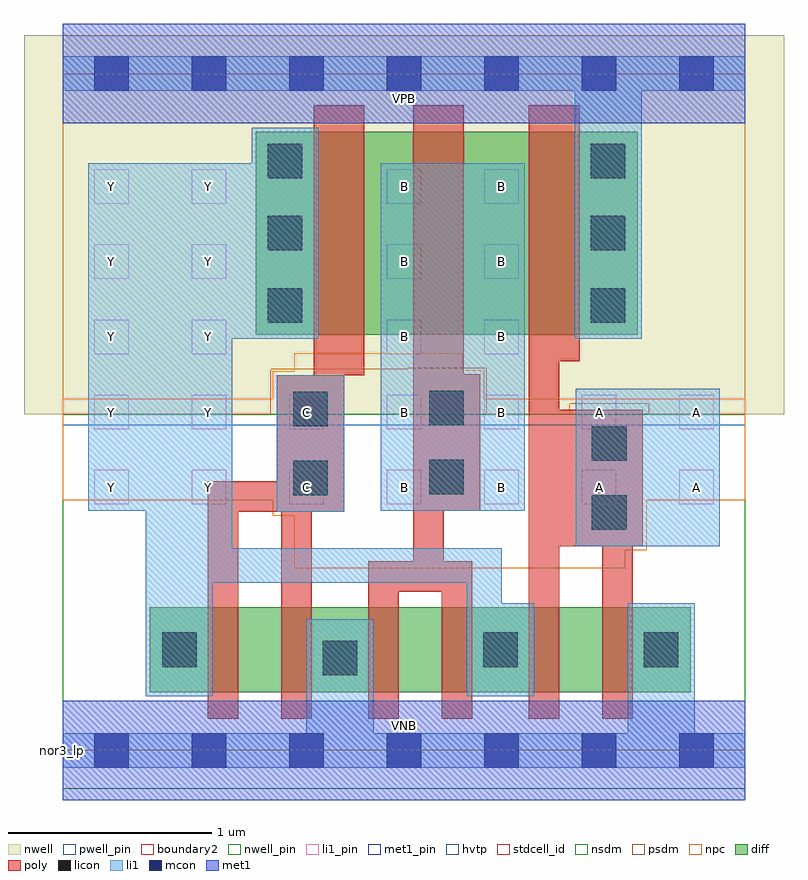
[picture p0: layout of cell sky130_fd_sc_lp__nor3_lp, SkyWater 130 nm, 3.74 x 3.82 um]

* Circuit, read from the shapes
.subckt sky130_fd_sc_lp__nor3_lp A B C VGND VNB VPB VPWR Y
XM1 n1 C Y VNB sky130_fd_pr__nfet_01v8 w=0.42 l=0.15
XM2 VGND C n1 VNB sky130_fd_pr__nfet_01v8 w=0.42 l=0.15
XM3 n2 B VGND VNB sky130_fd_pr__nfet_01v8 w=0.42 l=0.15
XM4 Y B n2 VNB sky130_fd_pr__nfet_01v8 w=0.42 l=0.15
XM5 n3 A Y VNB sky130_fd_pr__nfet_01v8 w=0.42 l=0.15
XM6 VGND A n3 VNB sky130_fd_pr__nfet_01v8 w=0.42 l=0.15
XM7 n4 C Y VPB sky130_fd_pr__pfet_01v8_hvt w=1 l=0.25
XM8 n5 B n4 VPB sky130_fd_pr__pfet_01v8_hvt w=1 l=0.25
XM9 VPWR A n5 VPB sky130_fd_pr__pfet_01v8_hvt w=1 l=0.25
.ends

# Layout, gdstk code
import gdstk
lib = gdstk.Library(unit=1e-6, precision=1e-09)
def R(c, l, rs):  # rectangles x0, y0, x1, y1
    for r in rs: c.add(gdstk.rectangle(r[:2], r[2:], *l))
def A(c, l, x, y, w, h, nx, ny, dx, dy):  # array of equal rectangles
    R(c, l, [(x+i*dx, y+j*dy, x+i*dx+w, y+j*dy+h) for i in range(nx) for j in range(ny)])
def P(c, l, *ps):  # polygons
    for p in ps: c.add(gdstk.Polygon(p, *l))
nwell_pin = (64, 16)
nwell = (64, 20)
diff = (65, 20)
poly = (66, 20)
licon = (66, 44)
li1_pin = (67, 16)
li1 = (67, 20)
mcon = (67, 44)
met1_pin = (68, 16)
met1 = (68, 20)
hvtp = (78, 44)
stdcell_id = (81, 4)
nsdm = (93, 44)
psdm = (94, 20)
npc = (95, 20)
pwell_pin = (122, 16)
boundary2 = (236, 0)

sky130_fd_sc_lp__nor3_lp = lib.new_cell('sky130_fd_sc_lp__nor3_lp')
R(sky130_fd_sc_lp__nor3_lp, nwell_pin, [(0,3.085,3.36,3.33)])
R(sky130_fd_sc_lp__nor3_lp, nwell, [(-0.19,1.655,3.55,3.52)])
R(sky130_fd_sc_lp__nor3_lp, diff, [(0.43,0.285,3.09,0.705), (0.95,2.045,2.83,3.045)])
P(sky130_fd_sc_lp__nor3_lp, poly, [(1.485,3.175),(1.235,3.175),(1.235,1.845),(1.055,1.845),(1.055,1.325),(0.715,1.325),(0.715,0.155),(0.865,0.155),(0.865,1.175),(1.075,1.175),(1.075,0.155),(1.225,0.155),(1.225,1.175),(1.385,1.175),(1.385,1.845),(1.485,1.845)],
  [(2.055,1.85),(1.975,1.85),(1.975,3.175),(1.725,3.175),(1.725,0.93),(1.505,0.93),(1.505,0.155),(1.655,0.155),(1.655,0.78),(1.865,0.78),(1.865,0.155),(2.015,0.155),(2.015,0.93),(1.875,0.93),(1.875,1.18),(2.055,1.18)],
  [(2.855,1.675),(2.445,1.675),(2.445,1.915),(2.545,1.915),(2.545,3.175),(2.295,3.175),(2.295,0.155),(2.445,0.155),(2.445,1.005),(2.655,1.005),(2.655,0.155),(2.805,0.155),(2.805,1.005),(2.855,1.005)])
A(sky130_fd_sc_lp__nor3_lp, licon, 1.01, 2.105, 0.17, 0.17, 1, 3, 0, 0.355)
A(sky130_fd_sc_lp__nor3_lp, licon, 2.6, 2.105, 0.17, 0.17, 1, 3, 0, 0.355)
R(sky130_fd_sc_lp__nor3_lp, licon, [(1.28,0.37,1.45,0.54), (0.49,0.41,0.66,0.58), (2.07,0.41,2.24,0.58), (2.86,0.41,3.03,0.58), (2.605,1.085,2.775,1.255), (1.135,1.255,1.305,1.425), (1.805,1.26,1.975,1.43), (2.605,1.425,2.775,1.595), (1.135,1.595,1.305,1.765), (1.805,1.6,1.975,1.77)])
A(sky130_fd_sc_lp__nor3_lp, li1_pin, 0.155, 1.21, 0.17, 0.17, 7, 2, 0.48, 0.37)
A(sky130_fd_sc_lp__nor3_lp, li1_pin, 0.155, 1.95, 0.17, 0.17, 1, 3, 0, 0.37)
A(sky130_fd_sc_lp__nor3_lp, li1_pin, 0.635, 1.95, 0.17, 0.17, 1, 3, 0, 0.37)
A(sky130_fd_sc_lp__nor3_lp, li1_pin, 1.595, 1.95, 0.17, 0.17, 1, 3, 0, 0.37)
A(sky130_fd_sc_lp__nor3_lp, li1_pin, 2.075, 1.95, 0.17, 0.17, 1, 3, 0, 0.37)
R(sky130_fd_sc_lp__nor3_lp, li1, [(2.525,1.005,3.235,1.78), (1.055,1.175,1.385,1.845), (1.565,1.18,2.275,2.89)])
P(sky130_fd_sc_lp__nor3_lp, li1, [(2.52,2.025),(2.52,3.245),(0,3.245),(0,3.415),(3.36,3.415),(3.36,3.245),(2.85,3.245),(2.85,2.025)],
  [(2.78,0.085),(2.78,0.725),(3.11,0.725),(3.11,0.085),(3.36,0.085),(3.36,-0.085),(0,-0.085),(0,0.085),(1.2,0.085),(1.2,0.645),(1.53,0.645),(1.53,0.085)],
  [(0.41,1.18),(0.125,1.18),(0.125,2.89),(0.93,2.89),(0.93,3.065),(1.26,3.065),(1.26,2.025),(0.835,2.025),(0.835,0.995),(2.16,0.995),(2.16,0.725),(2.32,0.725),(2.32,0.265),(1.99,0.265),(1.99,0.825),(0.74,0.825),(0.74,0.265),(0.41,0.265)])
A(sky130_fd_sc_lp__nor3_lp, mcon, 0.155, -0.085, 0.17, 0.17, 7, 2, 0.48, 3.33)
R(sky130_fd_sc_lp__nor3_lp, met1_pin, [(0,0,3.36,0.245), (0,3.085,3.36,3.33)])
R(sky130_fd_sc_lp__nor3_lp, met1, [(0,-0.245,3.36,0.245), (0,3.085,3.36,3.575)])
R(sky130_fd_sc_lp__nor3_lp, hvtp, [(0,1.6,3.36,3.33)])
R(sky130_fd_sc_lp__nor3_lp, stdcell_id, [(0,0,3.36,3.33)])
R(sky130_fd_sc_lp__nor3_lp, nsdm, [(0,-0.19,3.36,1.655)])
P(sky130_fd_sc_lp__nor3_lp, psdm, [(3.36,3.52),(0,3.52),(0,1.655),(1.025,1.655),(1.025,1.875),(1.695,1.875),(1.695,1.88),(2.085,1.88),(2.085,1.655),(2.495,1.655),(2.495,1.705),(2.885,1.705),(2.885,1.655),(3.36,1.655)])
P(sky130_fd_sc_lp__nor3_lp, npc, [(3.36,1.73),(2.075,1.73),(2.075,1.87),(1.97,1.87),(1.97,1.955),(1.14,1.955),(1.14,1.865),(1.035,1.865),(1.035,1.73),(0,1.73),(0,1.23),(1.035,1.23),(1.035,1.155),(1.14,1.155),(1.14,0.895),(2.77,0.895),(2.77,0.985),(2.875,0.985),(2.875,1.23),(3.36,1.23)])
R(sky130_fd_sc_lp__nor3_lp, pwell_pin, [(0,0,3.36,0.245)])
R(sky130_fd_sc_lp__nor3_lp, boundary2, [(0,0,3.36,3.33)])
sky130_fd_sc_lp__nor3_lp.add(gdstk.Label('VNB', (1.68,0.123), layer=64, texttype=59))
sky130_fd_sc_lp__nor3_lp.add(gdstk.Label('VPB', (1.68,3.208), layer=64, texttype=5))
sky130_fd_sc_lp__nor3_lp.add(gdstk.Label('nor3_lp', (0,0), layer=83, texttype=44))
sky130_fd_sc_lp__nor3_lp.add(gdstk.Label('VPWR', (1.68,3.208), layer=68, texttype=5))
sky130_fd_sc_lp__nor3_lp.add(gdstk.Label('VGND', (1.68,0.123), layer=68, texttype=5))
sky130_fd_sc_lp__nor3_lp.add(gdstk.Label('C', (1.2,1.295), layer=67, texttype=5))
sky130_fd_sc_lp__nor3_lp.add(gdstk.Label('C', (1.2,1.665), layer=67, texttype=5))
sky130_fd_sc_lp__nor3_lp.add(gdstk.Label('B', (1.68,1.295), layer=67, texttype=5))
sky130_fd_sc_lp__nor3_lp.add(gdstk.Label('B', (1.68,1.665), layer=67, texttype=5))
sky130_fd_sc_lp__nor3_lp.add(gdstk.Label('B', (1.68,2.035), layer=67, texttype=5))
sky130_fd_sc_lp__nor3_lp.add(gdstk.Label('B', (1.68,2.405), layer=67, texttype=5))
sky130_fd_sc_lp__nor3_lp.add(gdstk.Label('B', (1.68,2.775), layer=67, texttype=5))
sky130_fd_sc_lp__nor3_lp.add(gdstk.Label('B', (2.16,1.295), layer=67, texttype=5))
sky130_fd_sc_lp__nor3_lp.add(gdstk.Label('B', (2.16,1.665), layer=67, texttype=5))
sky130_fd_sc_lp__nor3_lp.add(gdstk.Label('B', (2.16,2.035), layer=67, texttype=5))
sky130_fd_sc_lp__nor3_lp.add(gdstk.Label('B', (2.16,2.405), layer=67, texttype=5))
sky130_fd_sc_lp__nor3_lp.add(gdstk.Label('B', (2.16,2.775), layer=67, texttype=5))
sky130_fd_sc_lp__nor3_lp.add(gdstk.Label('A', (2.64,1.295), layer=67, texttype=5))
sky130_fd_sc_lp__nor3_lp.add(gdstk.Label('A', (2.64,1.665), layer=67, texttype=5))
sky130_fd_sc_lp__nor3_lp.add(gdstk.Label('A', (3.12,1.295), layer=67, texttype=5))
sky130_fd_sc_lp__nor3_lp.add(gdstk.Label('A', (3.12,1.665), layer=67, texttype=5))
sky130_fd_sc_lp__nor3_lp.add(gdstk.Label('Y', (0.24,1.295), layer=67, texttype=5))
sky130_fd_sc_lp__nor3_lp.add(gdstk.Label('Y', (0.24,1.665), layer=67, texttype=5))
sky130_fd_sc_lp__nor3_lp.add(gdstk.Label('Y', (0.24,2.035), layer=67, texttype=5))
sky130_fd_sc_lp__nor3_lp.add(gdstk.Label('Y', (0.24,2.405), layer=67, texttype=5))
sky130_fd_sc_lp__nor3_lp.add(gdstk.Label('Y', (0.24,2.775), layer=67, texttype=5))
sky130_fd_sc_lp__nor3_lp.add(gdstk.Label('Y', (0.72,1.295), layer=67, texttype=5))
sky130_fd_sc_lp__nor3_lp.add(gdstk.Label('Y', (0.72,1.665), layer=67, texttype=5))
sky130_fd_sc_lp__nor3_lp.add(gdstk.Label('Y', (0.72,2.035), layer=67, texttype=5))
sky130_fd_sc_lp__nor3_lp.add(gdstk.Label('Y', (0.72,2.405), layer=67, texttype=5))
sky130_fd_sc_lp__nor3_lp.add(gdstk.Label('Y', (0.72,2.775), layer=67, texttype=5))

lib.write_gds('sky130_fd_sc_lp__nor3_lp.gds')
